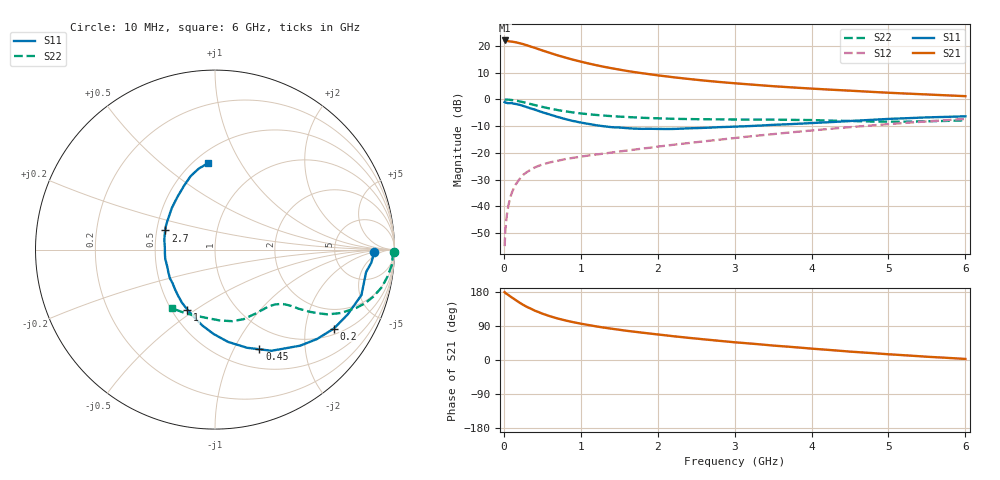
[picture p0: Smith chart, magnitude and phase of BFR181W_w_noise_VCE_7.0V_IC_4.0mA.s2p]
! Infineon Technologies  Discrete & RF Semiconductors
! BFR181W
! VCE =  7.0 V,  IC =  4.0 mA
! Common Emitter S-Parameters:  Jan 2017
# GHz  S  MA  R  50
!  f  S11  S21  S12  S22
! GHz  MAG  ANG  MAG  ANG  MAG  ANG  MAG  ANG
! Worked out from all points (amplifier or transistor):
!   77 points, 10 MHz to 6 GHz, reference 50 ohm
!   highest |S21| = 22.0 dB at 10 MHz (marker M1)
!   |S21| within 3 dB of that: start of sweep to 426.5 MHz
!   unconditionally stable (mu >= 1): 1.494 GHz to 3.522 GHz
!   at 130 MHz: K = 0.13, MSG = 27.3 dB, |S12| = -33.2 dB
!   at 2.2 GHz: K = 1.08, MAG = 10.9 dB, |S12| = -17.0 dB
!   at 6 GHz: K = 0.85, MSG = 4.3 dB, |S12| = -7.3 dB
!   lowest NFmin = 0.92 dB at 450 MHz
!   S11 on the Smith chart (normalised r, x): 10 MHz: 16, -2; 200 MHz: 1.20, -2.86; 450 MHz: 0.72, -1.27; 1 GHz: 0.60, -0.46; 2.7 GHz: 0.55, +0.13; 6 GHz: 0.59, +0.73
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0.01  0.8875 -0.9  12.63 179.1  0.0018 96.8  0.999 -0.9
0.02  0.874 -4.8  12.53 176.7  0.0036 100.4  0.9898 -1.6
0.07  0.8499 -12.0  12.18 169.9  0.0121 82.3  0.9835 -6.1
0.15  0.8226 -26.1  11.72 158.7  0.0251 76.6  0.9518 -12.8
0.2  0.795 -33.6  11.26 151.9  0.0318 73.0  0.9208 -16.5
0.25  0.7554 -41.3  10.8 145.7  0.0387 68.3  0.8875 -19.7
0.3  0.7156 -48.4  10.24 140.1  0.0437 65.9  0.8517 -22.4
0.4  0.6457 -60.8  9.224 130.4  0.0532 61.1  0.784 -26.8
0.45  0.6077 -66.0  8.702 126.6  0.0569 59.2  0.7536 -28.3
0.5  0.5755 -71.9  8.222 122.4  0.0606 57.5  0.7237 -29.9
0.6  0.5191 -82.0  7.387 115.5  0.0664 55.4  0.6726 -31.8
0.7  0.4696 -91.1  6.648 109.5  0.071 54.6  0.6308 -33.3
0.8  0.4281 -99.6  6.047 104.4  0.0765 54.1  0.5972 -34.3
1  0.3687 -114.6  5.079 95.9  0.0848 53.7  0.5456 -35.9
1.1  0.3481 -122.0  4.693 92.3  0.0892 54.0  0.5281 -36.5
1.5  0.2976 -147.5  3.603 79.8  0.106 55.7  0.4761 -39.5
2.1  0.2793 -178.4  2.703 65.2  0.1359 58.5  0.4379 -46.2
2.7  0.2972 158.9  2.181 52.6  0.17 59.5  0.4236 -55.3
3.1  0.3128 146.5  1.95 45.2  0.1962 59.1  0.4194 -61.4
4.1  0.3664 123.5  1.561 28.5  0.2698 55.5  0.4064 -78.3
5.1  0.4367 106.8  1.31 13.9  0.3526 48.7  0.3823 -102.6
6  0.4821 94.7  1.148 2.8  0.4312 40.7  0.4059 -126.5
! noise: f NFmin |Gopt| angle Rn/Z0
0.45  0.92  0.39  16  0.24
0.9  0.97  0.36  31  0.24
1.9  1.4  0.2  79  0.2
2.4  1.56  0.17  94  0.22
